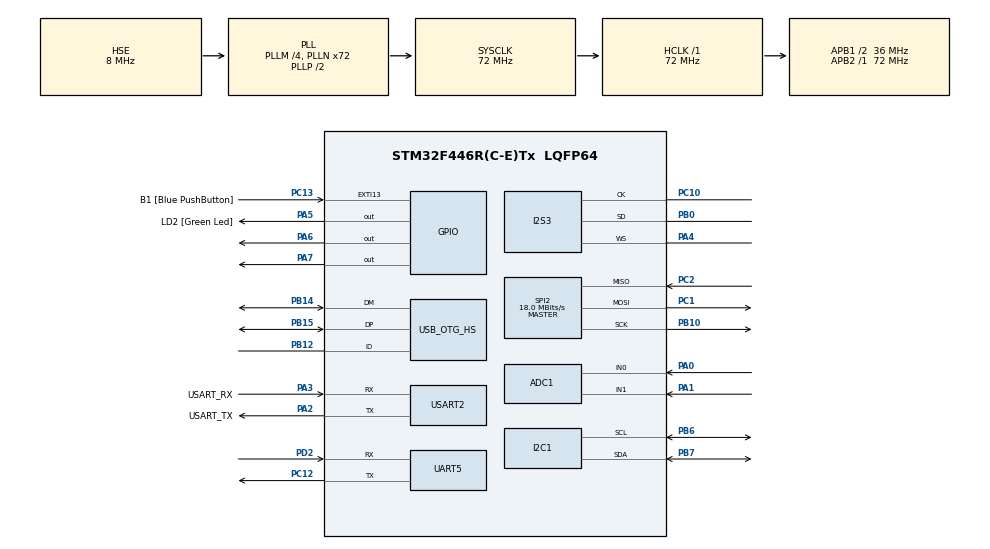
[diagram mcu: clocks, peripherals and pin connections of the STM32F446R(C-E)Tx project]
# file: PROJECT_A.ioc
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ADC1.Channel-0\#ChannelRegularConversion=ADC_CHANNEL_0
ADC1.NbrOfConversionFlag=1
ADC1.Rank-0\#ChannelRegularConversion=1
ADC1.SamplingTime-0\#ChannelRegularConversion=ADC_SAMPLETIME_3CYCLES
ADC1.master=1
I2S3.ErrorAudioFreq=- %
I2S3.FullDuplexMode=I2S_FULLDUPLEXMODE_DISABLE
I2S3.Instance=SPI$Index
I2S3.RealAudioFreq=- Hz
I2S3.VirtualMode=I2S_MODE_MASTER
Mcu.Family=STM32F4
Mcu.Name=STM32F446R(C-E)Tx
Mcu.Package=LQFP64
NVIC.PriorityGroup=NVIC_PRIORITYGROUP_4
PA0-WKUP.Signal=ADCx_IN0
PA1.Signal=ADCx_IN1
PA13.GPIO_Label=TMS
PA13.Mode=Serial_Wire
PA13.Signal=SYS_JTMS-SWDIO
PA14.GPIO_Label=TCK
PA14.Mode=Serial_Wire
PA14.Signal=SYS_JTCK-SWCLK
PA2.GPIO_Label=USART_TX
PA2.Mode=Asynchronous
PA2.Signal=USART2_TX
PA3.GPIO_Label=USART_RX
PA3.Mode=Asynchronous
PA3.Signal=USART2_RX
PA4.Mode=Half_Duplex_Master
PA4.Signal=I2S3_WS
PA5.GPIO_Label=LD2 [Green Led]
PA5.Signal=GPIO_Output
PA6.Signal=GPIO_Output
PA7.Signal=GPIO_Output
PB0.Mode=Half_Duplex_Master
PB0.Signal=I2S3_SD
PB10.Mode=Full_Duplex_Master
PB10.Signal=SPI2_SCK
PB12.Mode=OTG/Dual-Role-Device-FS
PB12.Signal=USB_OTG_HS_ID
PB14.Mode=OTG/Dual-Role-Device-FS
PB14.Signal=USB_OTG_HS_DM
PB15.Mode=OTG/Dual-Role-Device-FS
PB15.Signal=USB_OTG_HS_DP
PB3.GPIO_Label=SWO
PB3.Signal=SYS_JTDO-SWO
PB6.Mode=I2C
PB6.Signal=I2C1_SCL
PB7.Mode=I2C
PB7.Signal=I2C1_SDA
PC1.Mode=Full_Duplex_Master
PC1.Signal=SPI2_MOSI
PC10.Mode=Half_Duplex_Master
PC10.Signal=I2S3_CK
PC12.Mode=Asynchronous
PC12.Signal=UART5_TX
PC13.GPIO_Label=B1 [Blue PushButton]
PC13.GPIO_ModeDefaultEXTI=GPIO_MODE_IT_FALLING
PC13.Signal=GPXTI13
PC14-OSC32_IN.Mode=LSE-External-Oscillator
PC14-OSC32_IN.Signal=RCC_OSC32_IN
PC15-OSC32_OUT.Mode=LSE-External-Oscillator
PC15-OSC32_OUT.Signal=RCC_OSC32_OUT
PC2.Mode=Full_Duplex_Master
PC2.Signal=SPI2_MISO
PD2.Mode=Asynchronous
PD2.Signal=UART5_RX
PH0-OSC_IN.Mode=HSE-External-Oscillator
PH0-OSC_IN.Signal=RCC_OSC_IN
PH1-OSC_OUT.Mode=HSE-External-Oscillator
PH1-OSC_OUT.Signal=RCC_OSC_OUT
ProjectManager.HeapSize=0x200
ProjectManager.StackSize=0x400
ProjectManager.TargetToolchain=STM32CubeIDE
RCC.48MHZClocksFreq_Value=84000000
RCC.AHBFreq_Value=72000000
RCC.APB1CLKDivider=RCC_HCLK_DIV2
RCC.APB1Freq_Value=36000000
RCC.APB1TimFreq_Value=72000000
RCC.APB2Freq_Value=72000000
RCC.APB2TimFreq_Value=72000000
RCC.CortexFreq_Value=72000000
RCC.FLatency-AdvancedSettings=FLASH_LATENCY_2
RCC.HCLKFreq_Value=72000000
RCC.HSE_VALUE=8000000
RCC.HSI_VALUE=16000000
RCC.PLLI2SM=4
RCC.PLLM=4
RCC.PLLN=72
RCC.PLLQ=3
RCC.SYSCLKFreq_VALUE=72000000
RCC.SYSCLKSource=RCC_SYSCLKSOURCE_PLLCLK
RCC.USBFreq_Value=48000000
RCC.VCOOutputFreq_Value=144000000
SH.ADCx_IN0.0=ADC1_IN0,IN0
SH.ADCx_IN1.0=ADC1_IN1,IN1
SPI2.CalculateBaudRate=18.0 MBits/s
SPI2.Direction=SPI_DIRECTION_2LINES
SPI2.Mode=SPI_MODE_MASTER
SPI2.VirtualType=VM_MASTER
UART5.VirtualMode=Asynchronous
USART2.VirtualMode=VM_ASYNC
VP_RTC_VS_RTC_Activate.Mode=RTC_Enabled
board=NUCLEO-F446RE

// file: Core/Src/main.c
/* USER CODE BEGIN Header */
/**
  **************************
  * @file           : main.c
  * @brief          : Main program body
  **************************
  * @attention
  *
  * Copyright (c) 2024 STMicroelectronics.
  * All rights reserved.
  *
  * This software is licensed under terms that can be found in the LICENSE file
  * in the root directory of this software component.
  * If no LICENSE file comes with this software, it is provided AS-IS.
  *
  **************************
  */
/* USER CODE END Header */
#include "main.h"

/* USER CODE BEGIN Includes */
#include <string.h>
#include <stdio.h>
#define I2C_TIMEOUT 100
#define SLAVE_ADDRESS 0x68 // Replace with actual device address
/* USER CODE END Includes */

/* USER CODE BEGIN PTD */
// State machine states
typedef enum {
    STATE_IDLE,
    STATE_ACTIVE,
    STATE_ERROR
} SystemState;

SystemState currentState = STATE_IDLE;

/* USER CODE END PTD */

ADC_HandleTypeDef hadc1;

I2C_HandleTypeDef hi2c1;

I2S_HandleTypeDef hi2s3;

RTC_HandleTypeDef hrtc;

SPI_HandleTypeDef hspi2;

UART_HandleTypeDef huart5;
UART_HandleTypeDef huart2;

/* USER CODE BEGIN PV */
uint8_t i2cTxBuffer[5] = {0xA1, 0xB2, 0xC3, 0xD4, 0xE5}; // Data to send to the slave
uint8_t i2cRxBuffer[5]; // Data buffer to receive from slave
char uartTxBuffer[100]; // UART buffer to print messages

uint8_t spiTxBuffer[5] = {0xAA, 0xBB, 0xCC, 0xDD, 0xEE}; // Data to send to the slave
uint8_t spiRxBuffer[5]; // Data buffer to receive from slave
char uartTxBuffer[100]; // UART buffer to print messages

char *user_data = "The application is running\r\n"; //demo data for transmission-

uint8_t data_buffer[100]; // data buffer
uint8_t recvd_data; // receive buffer
uint32_t count=0; // count how many bytes are received

RTC_TimeTypeDef sTime;
RTC_DateTypeDef sDate;
char rtc_buffer[50];

/* USER CODE END PV */

void SystemClock_Config(void);
static void MX_GPIO_Init(void);
static void MX_USART2_UART_Init(void);
static void MX_ADC1_Init(void);
static void MX_I2C1_Init(void);
static void MX_SPI2_Init(void);
static void MX_USB_OTG_HS_USB_Init(void);
static void MX_UART5_Init(void);
static void MX_I2S3_Init(void);
static void MX_RTC_Init(void);

/* USER CODE BEGIN 0 */
// I2C Write with Interrupts
void I2C_Write_Interrupt(uint8_t deviceAddress, uint8_t *data, uint16_t size) {
    if (HAL_I2C_Master_Transmit_IT(&hi2c1, (uint16_t)deviceAddress, data, size) != HAL_OK) {
        Error_Handler();
    }
    while (HAL_I2C_GetState(&hi2c1) != HAL_I2C_STATE_READY);
}

void HAL_I2C_MasterTxCpltCallback(I2C_HandleTypeDef *hi2c) {
    printf("I2C Transmission Complete\n");
}

// I2C Read with DMA
void I2C_Read_DMA(uint8_t deviceAddress, uint8_t *buffer, uint16_t size) {
    if (HAL_I2C_Master_Receive_DMA(&hi2c1, (uint16_t)deviceAddress, buffer, size) != HAL_OK) {
        Error_Handler();
    }
}

void HAL_I2C_MasterRxCpltCallback(I2C_HandleTypeDef *hi2c) {
    printf("I2C Receive Complete via DMA\n");
}

// I2C Polling Mode Write
void I2C_Write_Polling(uint8_t deviceAddress, uint8_t *data, uint16_t size) {
    if (HAL_I2C_Master_Transmit(&hi2c1, (uint16_t)deviceAddress, data, size, I2C_TIMEOUT) != HAL_OK) {
        Error_Handler();
    }
}

// I2C Polling Mode Read
void I2C_Read_Polling(uint8_t deviceAddress, uint8_t *buffer, uint16_t size) {
    if (HAL_I2C_Master_Receive(&hi2c1, (uint16_t)deviceAddress, buffer, size, I2C_TIMEOUT) != HAL_OK) {
        Error_Handler();
    }
}

// I2C Write to Multiple Slave Devices
void I2C_WriteToMultipleSlaves(void) {
    uint8_t slaveAddresses[] = {0x50, 0x68, 0x72};
    uint8_t dataToSend[2] = {0xAA, 0xBB};

    for (int i = 0; i < sizeof(slaveAddresses); i++) {
        if (HAL_I2C_Master_Transmit(&hi2c1, slaveAddresses[i], dataToSend, 2, I2C_TIMEOUT) != HAL_OK) {
            Error_Handler();
        }
    }
}

// I2C Large Data Transfer using DMA
void I2C_LargeDataTransfer(uint8_t deviceAddress) {
    uint8_t largeBuffer[1024];
    for (int i = 0; i < 1024; i++) {
        largeBuffer[i] = i & 0xFF;
    }

    if (HAL_I2C_Master_Transmit_DMA(&hi2c1, deviceAddress, largeBuffer, 1024) != HAL_OK) {
        Error_Handler();
    }
}

// Timeout-based I2C Write
HAL_StatusTypeDef I2C_Write_WithTimeout(uint8_t deviceAddress, uint8_t *data, uint16_t size, uint32_t timeout) {
    return HAL_I2C_Master_Transmit(&hi2c1, (uint16_t)deviceAddress, data, size, timeout);
}

// Timeout-based I2C Read
HAL_StatusTypeDef I2C_Read_WithTimeout(uint8_t deviceAddress, uint8_t *buffer, uint16_t size, uint32_t timeout) {
    return HAL_I2C_Master_Receive(&hi2c1, (uint16_t)deviceAddress, buffer, size, timeout);
}

// Error Callback
void HAL_I2C_ErrorCallback(I2C_HandleTypeDef *hi2c) {
    if (HAL_I2C_GetError(hi2c) == HAL_I2C_ERROR_AF) {
        printf("I2C Error: Acknowledge Failure\n");
    } else if (HAL_I2C_GetError(hi2c) == HAL_I2C_ERROR_DMA) {
        printf("I2C Error: DMA Transfer\n");
    } else {
        printf("I2C Error: Unknown\n");
    }
}

/* USER CODE END 0 */

int main(void)
{

  /* MCU Configuration--------------------------------------------------------*/

  /* Reset of all peripherals, Initializes the Flash interface and the Systick. */
  HAL_Init();

  /* Configure the system clock */
  SystemClock_Config();

  /* Initialize all configured peripherals */
  MX_GPIO_Init();
  MX_USART2_UART_Init();
  MX_ADC1_Init();
  MX_I2C1_Init();
  MX_SPI2_Init();
  MX_USB_OTG_HS_USB_Init();
  MX_UART5_Init();
  MX_I2S3_Init();
  MX_RTC_Init();

  /* Infinite loop */
  while (1)
  {

    /* USER CODE BEGIN 3 */
	  HAL_GPIO_TogglePin(GPIOA, GPIO_PIN_5);
	   HAL_Delay(1000);

	   // I2C communication example
	          uint8_t i2cData = 0x55;
	          HAL_I2C_Master_Transmit(&hi2c1, (uint16_t)0xA0, &i2cData, 1, HAL_MAX_DELAY);
	          HAL_Delay(8000);

	          // SPI communication example
	          uint8_t spiData = 0xAA;
	          HAL_SPI_Transmit(&hspi2, &spiData, 1, HAL_MAX_DELAY);
	          HAL_Delay(6000);

	          // USART communication example
	          char usartData[] = "Hello USART";
	          HAL_UART_Transmit(&huart2, (uint8_t*)usartData, sizeof(usartData) - 1, HAL_MAX_DELAY);
	          HAL_Delay(4000);

	          // ADC reading example
	          uint32_t adcValue;
	          HAL_ADC_Start(&hadc1);
	          HAL_ADC_PollForConversion(&hadc1, HAL_MAX_DELAY);
	          adcValue = HAL_ADC_GetValue(&hadc1);
	          HAL_ADC_Stop(&hadc1);
	          HAL_Delay(2000);
  }

  /* USER CODE END 3 */
}

void SystemClock_Config(void)
{
  RCC_OscInitTypeDef RCC_OscInitStruct = {0};
  RCC_ClkInitTypeDef RCC_ClkInitStruct = {0};

  /** Configure the main internal regulator output voltage
  */
  __HAL_RCC_PWR_CLK_ENABLE();
  __HAL_PWR_VOLTAGESCALING_CONFIG(PWR_REGULATOR_VOLTAGE_SCALE3);

  /** Initializes the RCC Oscillators according to the specified parameters
  * in the RCC_OscInitTypeDef structure.
  */
  RCC_OscInitStruct.OscillatorType = RCC_OSCILLATORTYPE_LSI|RCC_OSCILLATORTYPE_HSE;
  RCC_OscInitStruct.HSEState = RCC_HSE_ON;
  RCC_OscInitStruct.LSEState = RCC_LSE_ON;
  RCC_OscInitStruct.LSIState = RCC_LSI_ON;
  RCC_OscInitStruct.PLL.PLLState = RCC_PLL_ON;
  RCC_OscInitStruct.PLL.PLLSource = RCC_PLLSOURCE_HSE;
  RCC_OscInitStruct.PLL.PLLM = 4;
  RCC_OscInitStruct.PLL.PLLN = 72;
  RCC_OscInitStruct.PLL.PLLP = RCC_PLLP_DIV2;
  RCC_OscInitStruct.PLL.PLLQ = 3;
  RCC_OscInitStruct.PLL.PLLR = 2;
  if (HAL_RCC_OscConfig(&RCC_OscInitStruct) != HAL_OK)
  {
    Error_Handler();
  }

  /** Initializes the CPU, AHB and APB buses clocks
  */
  RCC_ClkInitStruct.ClockType = RCC_CLOCKTYPE_HCLK|RCC_CLOCKTYPE_SYSCLK
                              |RCC_CLOCKTYPE_PCLK1|RCC_CLOCKTYPE_PCLK2;
  RCC_ClkInitStruct.SYSCLKSource = RCC_SYSCLKSOURCE_PLLCLK;
  RCC_ClkInitStruct.AHBCLKDivider = RCC_SYSCLK_DIV1;
  RCC_ClkInitStruct.APB1CLKDivider = RCC_HCLK_DIV2;
  RCC_ClkInitStruct.APB2CLKDivider = RCC_HCLK_DIV1;

  if (HAL_RCC_ClockConfig(&RCC_ClkInitStruct, FLASH_LATENCY_2) != HAL_OK)
  {
    Error_Handler();
  }
}

static void MX_ADC1_Init(void)
{

  ADC_ChannelConfTypeDef sConfig = {0};

  /** Configure the global features of the ADC (Clock, Resolution, Data Alignment and number of conversion)
  */
  hadc1.Instance = ADC1;
  hadc1.Init.ClockPrescaler = ADC_CLOCK_SYNC_PCLK_DIV2;
  hadc1.Init.Resolution = ADC_RESOLUTION_12B;
  hadc1.Init.ScanConvMode = DISABLE;
  hadc1.Init.ContinuousConvMode = DISABLE;
  hadc1.Init.DiscontinuousConvMode = DISABLE;
  hadc1.Init.ExternalTrigConvEdge = ADC_EXTERNALTRIGCONVEDGE_NONE;
  hadc1.Init.ExternalTrigConv = ADC_SOFTWARE_START;
  hadc1.Init.DataAlign = ADC_DATAALIGN_RIGHT;
  hadc1.Init.NbrOfConversion = 1;
  hadc1.Init.DMAContinuousRequests = DISABLE;
  hadc1.Init.EOCSelection = ADC_EOC_SINGLE_CONV;
  if (HAL_ADC_Init(&hadc1) != HAL_OK)
  {
    Error_Handler();
  }

  /** Configure for the selected ADC regular channel its corresponding rank in the sequencer and its sample time.
  */
  sConfig.Channel = ADC_CHANNEL_0;
  sConfig.Rank = 1;
  sConfig.SamplingTime = ADC_SAMPLETIME_3CYCLES;
  if (HAL_ADC_ConfigChannel(&hadc1, &sConfig) != HAL_OK)
  {
    Error_Handler();
  }

}

static void MX_I2C1_Init(void)
{

  hi2c1.Instance = I2C1;
  hi2c1.Init.ClockSpeed = 100000;
  hi2c1.Init.DutyCycle = I2C_DUTYCYCLE_2;
  hi2c1.Init.OwnAddress1 = 0;
  hi2c1.Init.AddressingMode = I2C_ADDRESSINGMODE_7BIT;
  hi2c1.Init.DualAddressMode = I2C_DUALADDRESS_DISABLE;
  hi2c1.Init.OwnAddress2 = 0;
  hi2c1.Init.GeneralCallMode = I2C_GENERALCALL_DISABLE;
  hi2c1.Init.NoStretchMode = I2C_NOSTRETCH_DISABLE;
  if (HAL_I2C_Init(&hi2c1) != HAL_OK)
  {
    Error_Handler();
  }

}

static void MX_I2S3_Init(void)
{

  hi2s3.Instance = SPI3;
  hi2s3.Init.Mode = I2S_MODE_MASTER_TX;
  hi2s3.Init.Standard = I2S_STANDARD_PHILIPS;
  hi2s3.Init.DataFormat = I2S_DATAFORMAT_16B;
  hi2s3.Init.MCLKOutput = I2S_MCLKOUTPUT_DISABLE;
  hi2s3.Init.AudioFreq = I2S_AUDIOFREQ_8K;
  hi2s3.Init.CPOL = I2S_CPOL_LOW;
  hi2s3.Init.ClockSource = I2S_CLOCK_PLL;
  hi2s3.Init.FullDuplexMode = I2S_FULLDUPLEXMODE_DISABLE;
  if (HAL_I2S_Init(&hi2s3) != HAL_OK)
  {
    Error_Handler();
  }

}

static void MX_RTC_Init(void)
{

  /** Initialize RTC Only
  */
  hrtc.Instance = RTC;
  hrtc.Init.HourFormat = RTC_HOURFORMAT_24;
  hrtc.Init.AsynchPrediv = 127;
  hrtc.Init.SynchPrediv = 255;
  hrtc.Init.OutPut = RTC_OUTPUT_DISABLE;
  hrtc.Init.OutPutPolarity = RTC_OUTPUT_POLARITY_HIGH;
  hrtc.Init.OutPutType = RTC_OUTPUT_TYPE_OPENDRAIN;
  if (HAL_RTC_Init(&hrtc) != HAL_OK)
  {
    Error_Handler();
  }

}

static void MX_SPI2_Init(void)
{

  /* SPI2 parameter configuration*/
  hspi2.Instance = SPI2;
  hspi2.Init.Mode = SPI_MODE_MASTER;
  hspi2.Init.Direction = SPI_DIRECTION_2LINES;
  hspi2.Init.DataSize = SPI_DATASIZE_8BIT;
  hspi2.Init.CLKPolarity = SPI_POLARITY_LOW;
  hspi2.Init.CLKPhase = SPI_PHASE_1EDGE;
  hspi2.Init.NSS = SPI_NSS_SOFT;
  hspi2.Init.BaudRatePrescaler = SPI_BAUDRATEPRESCALER_2;
  hspi2.Init.FirstBit = SPI_FIRSTBIT_MSB;
  hspi2.Init.TIMode = SPI_TIMODE_DISABLE;
  hspi2.Init.CRCCalculation = SPI_CRCCALCULATION_DISABLE;
  hspi2.Init.CRCPolynomial = 10;
  if (HAL_SPI_Init(&hspi2) != HAL_OK)
  {
    Error_Handler();
  }

}

static void MX_UART5_Init(void)
{

  huart5.Instance = UART5;
  huart5.Init.BaudRate = 115200;
  huart5.Init.WordLength = UART_WORDLENGTH_8B;
  huart5.Init.StopBits = UART_STOPBITS_1;
  huart5.Init.Parity = UART_PARITY_NONE;
  huart5.Init.Mode = UART_MODE_TX_RX;
  huart5.Init.HwFlowCtl = UART_HWCONTROL_NONE;
  huart5.Init.OverSampling = UART_OVERSAMPLING_16;
  if (HAL_UART_Init(&huart5) != HAL_OK)
  {
    Error_Handler();
  }

}

static void MX_USART2_UART_Init(void)
{

  huart2.Instance = USART2;
  huart2.Init.BaudRate = 115200;
  huart2.Init.WordLength = UART_WORDLENGTH_8B;
  huart2.Init.StopBits = UART_STOPBITS_1;
  huart2.Init.Parity = UART_PARITY_NONE;
  huart2.Init.Mode = UART_MODE_TX_RX;
  huart2.Init.HwFlowCtl = UART_HWCONTROL_NONE;
  huart2.Init.OverSampling = UART_OVERSAMPLING_16;
  if (HAL_UART_Init(&huart2) != HAL_OK)
  {
    Error_Handler();
  }

}

static void MX_USB_OTG_HS_USB_Init(void)
{

}

static void MX_GPIO_Init(void)
{
  GPIO_InitTypeDef GPIO_InitStruct = {0};

  /* GPIO Ports Clock Enable */
  __HAL_RCC_GPIOC_CLK_ENABLE();
  __HAL_RCC_GPIOH_CLK_ENABLE();
  __HAL_RCC_GPIOA_CLK_ENABLE();
  __HAL_RCC_GPIOB_CLK_ENABLE();
  __HAL_RCC_GPIOD_CLK_ENABLE();

  /*Configure GPIO pin Output Level */
  HAL_GPIO_WritePin(GPIOA, LD2_Pin|GPIO_PIN_6|GPIO_PIN_7, GPIO_PIN_RESET);

  /*Configure GPIO pin : B1_Pin */
  GPIO_InitStruct.Pin = B1_Pin;
  GPIO_InitStruct.Mode = GPIO_MODE_IT_FALLING;
  GPIO_InitStruct.Pull = GPIO_NOPULL;
  HAL_GPIO_Init(B1_GPIO_Port, &GPIO_InitStruct);

  /*Configure GPIO pins : LD2_Pin PA6 PA7 */
  GPIO_InitStruct.Pin = LD2_Pin|GPIO_PIN_6|GPIO_PIN_7;
  GPIO_InitStruct.Mode = GPIO_MODE_OUTPUT_PP;
  GPIO_InitStruct.Pull = GPIO_NOPULL;
  GPIO_InitStruct.Speed = GPIO_SPEED_FREQ_LOW;
  HAL_GPIO_Init(GPIOA, &GPIO_InitStruct);

  /*Configure GPIO pins : PB12 PB14 PB15 */
  GPIO_InitStruct.Pin = GPIO_PIN_12|GPIO_PIN_14|GPIO_PIN_15;
  GPIO_InitStruct.Mode = GPIO_MODE_AF_PP;
  GPIO_InitStruct.Pull = GPIO_NOPULL;
  GPIO_InitStruct.Speed = GPIO_SPEED_FREQ_VERY_HIGH;
  GPIO_InitStruct.Alternate = GPIO_AF12_OTG_HS_FS;
  HAL_GPIO_Init(GPIOB, &GPIO_InitStruct);

}

void Error_Handler(void)
{
  __disable_irq();
  while (1)
  {
  }
}
